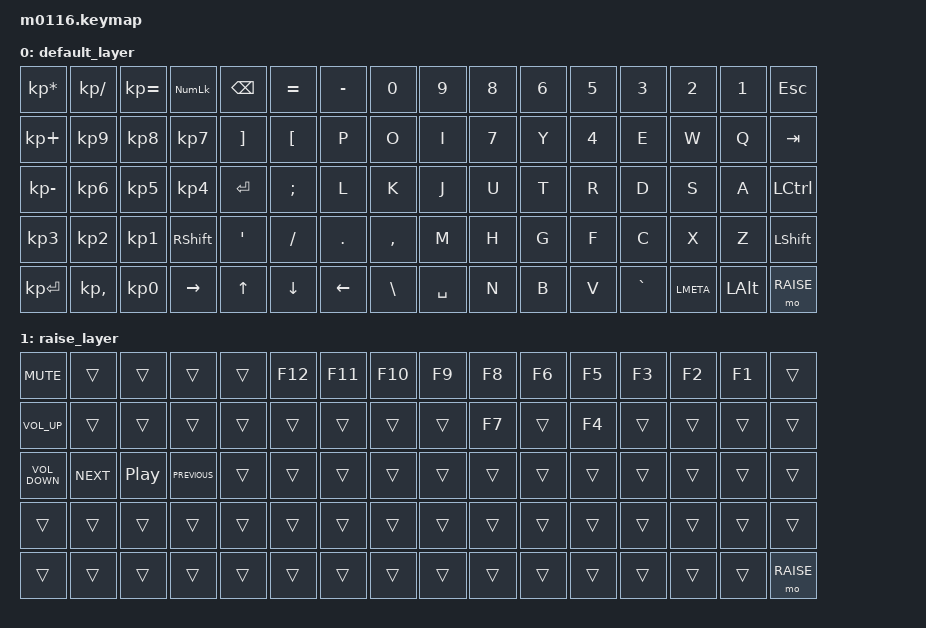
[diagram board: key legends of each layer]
/*
 * Copyright (c) 2021 The ZMK Contributors
 *
 * SPDX-License-Identifier: MIT
 */

#include <behaviors.dtsi>
#include <dt-bindings/zmk/keys.h>
#include <dt-bindings/zmk/bt.h>
#include <dt-bindings/zmk/outputs.h>

#define DEFAULT  0
#define RAISE    1

// -----------------------------------
// | TAB:TAB |    |    |    |    |   -:-  =:=  <:<   |   (< = bksp)
// | ESC:ESC |    |    |    |    |    |   #:#   |
// |    |    |    |    |    |    |    |    |
//           |    |    |         |    |    |

/ {
    keymap {
        compatible = "zmk,keymap";

        default_layer {
            bindings = <
  &kp KP_ASTERISK  &kp KP_DIVIDE  &kp KP_EQUAL  &kp KP_NUM  &kp BACKSPACE  &kp EQUAL  &kp MINUS  &kp N0  &kp N9  &kp N8   &kp N6  &kp N5  &kp N3  &kp N2  &kp N1  &kp ESC
  &kp KP_PLUS  &kp KP_N9  &kp KP_N8  &kp KP_N7  &kp RIGHT_BRACKET  &kp LEFT_BRACKET  &kp P  &kp O  &kp I  &kp N7  &kp Y  &kp N4  &kp E  &kp W   &kp Q  &kp TAB
  &kp KP_MINUS  &kp KP_N6  &kp KP_N5  &kp KP_N4  &kp ENTER  &kp SEMICOLON  &kp L  &kp K   &kp J  &kp U  &kp T  &kp R  &kp D  &kp S  &kp A  &kp LCTRL
  &kp KP_N3  &kp KP_N2  &kp KP_N1  &kp RSHIFT  &kp APOSTROPHE  &kp SLASH  &kp PERIOD &kp COMMA  &kp M  &kp H  &kp G  &kp F  &kp C  &kp X  &kp Z  &kp LSHIFT
  &kp KP_ENTER  &kp KP_COMMA  &kp KP_N0  &kp RIGHT  &kp UP &kp DOWN  &kp LEFT  &kp BACKSLASH  &kp SPACE  &kp N  &kp B  &kp V  &kp GRAVE  &kp LMETA  &kp LALT  &mo RAISE
            >;
        };
       raise_layer {
            bindings = <
  &kp C_MUTE  &trans  &trans  &trans  &trans  &kp F12  &kp F11  &kp F10  &kp F9  &kp F8  &kp F6  &kp F5  &kp F3  &kp F2  &kp F1  &trans
  &kp C_VOLUME_UP  &trans  &trans  &trans  &trans  &trans  &trans &trans  &trans  &kp F7  &trans  &kp F4  &trans  &trans  &trans  &trans
  &kp C_VOLUME_DOWN  &kp C_NEXT  &kp C_PLAY_PAUSE  &kp C_PREVIOUS  &trans  &trans  &trans  &trans  &trans  &trans  &trans  &trans  &trans  &trans  &trans  &trans
  &trans  &trans  &trans  &trans  &trans  &trans  &trans  &trans  &trans  &trans  &trans  &trans  &trans  &trans  &trans  &trans
  &trans  &trans  &trans  &trans  &trans  &trans  &trans  &trans  &trans  &trans  &trans  &trans  &trans  &trans  &trans  &mo RAISE
            >;
       };
    };
};
